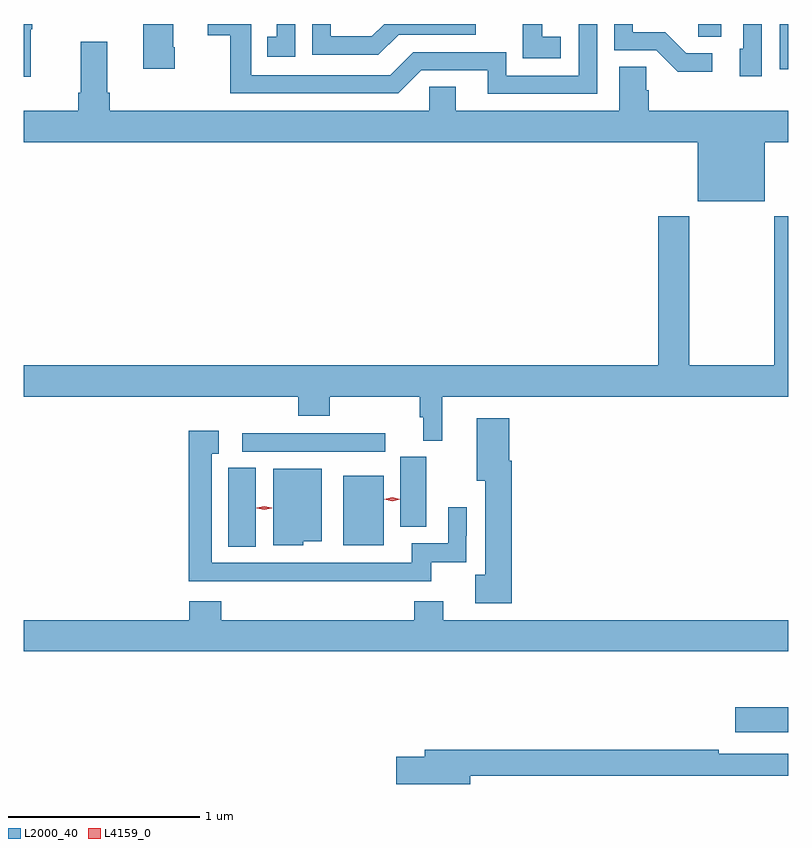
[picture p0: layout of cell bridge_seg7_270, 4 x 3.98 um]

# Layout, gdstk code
import gdstk
lib = gdstk.Library(unit=1e-6, precision=1e-09)
def R(c, l, rs):  # rectangles x0, y0, x1, y1
    for r in rs: c.add(gdstk.rectangle(r[:2], r[2:], *l))
def P(c, l, *ps):  # polygons
    for p in ps: c.add(gdstk.Polygon(p, *l))
L2000_40 = (2000, 40)
L4159_0 = (4159, 0)

bridge_seg7_270 = lib.new_cell('bridge_seg7_270')
R(bridge_seg7_270, L2000_40, [(235.266,1032.161,235.542,1032.291), (232.613,1033.132,232.756,1033.544), (233.213,1033.139,233.425,1033.504), (233.513,1033.235,233.647,1033.602), (232.686,1033.629,233.434,1033.725), (235.497,1035.63,235.542,1035.867), (235.071,1035.799,235.192,1035.867)])
P(bridge_seg7_270, L2000_40, [(234.352,1035.799),(234.254,1035.799),(234.254,1035.867),(234.154,1035.867),(234.154,1035.689),(234.352,1035.689)],
  [(235.144,1035.714),(235.009,1035.714),(234.898,1035.825),(234.729,1035.825),(234.729,1035.867),(234.633,1035.867),(234.633,1035.729),(234.852,1035.729),(234.965,1035.617),(235.144,1035.617)],
  [(233.503,1035.81),(233.907,1035.81),(233.907,1035.867),(233.427,1035.867),(233.362,1035.802),(233.148,1035.802),(233.148,1035.867),(233.052,1035.867),(233.052,1035.705),(233.398,1035.705)],
  [(232.332,1035.745),(232.324,1035.745),(232.324,1035.867),(232.166,1035.867),(232.166,1035.632),(232.332,1035.632)],
  [(231.578,1035.84),(231.586,1035.84),(231.586,1035.867),(231.542,1035.867),(231.542,1035.591),(231.578,1035.591)],
  [(232.962,1035.867),(232.865,1035.867),(232.865,1035.801),(232.816,1035.801),(232.816,1035.696),(232.962,1035.696)],
  [(234.543,1035.867),(234.447,1035.867),(234.447,1035.597),(234.066,1035.597),(234.066,1035.72),(233.58,1035.72),(233.46,1035.6),(232.731,1035.6),(232.731,1035.867),(232.505,1035.867),(232.505,1035.807),(232.623,1035.807),(232.623,1035.504),(233.502,1035.504),(233.622,1035.624),(233.969,1035.624),(233.969,1035.501),(234.543,1035.501)],
  [(235.404,1035.867),(235.308,1035.867),(235.308,1035.738),(235.289,1035.738),(235.289,1035.594),(235.404,1035.594)],
  [(235.42,1035.248),(235.542,1035.248),(235.542,1035.412),(234.812,1035.412),(234.812,1035.521),(234.798,1035.521),(234.798,1035.644),(234.659,1035.644),(234.659,1035.412),(233.803,1035.412),(233.803,1035.539),(233.664,1035.539),(233.664,1035.412),(231.992,1035.412),(231.992,1035.508),(231.979,1035.508),(231.979,1035.775),(231.839,1035.775),(231.839,1035.508),(231.827,1035.508),(231.827,1035.412),(231.542,1035.412),(231.542,1035.248),(235.07,1035.248),(235.07,1034.939),(235.42,1034.939)],
  [(233.732,1033.916),(235.542,1033.916),(235.542,1034.86),(235.468,1034.86),(235.468,1034.08),(235.023,1034.08),(235.023,1034.86),(234.863,1034.86),(234.863,1034.08),(231.542,1034.08),(231.542,1033.916),(232.979,1033.916),(232.979,1033.817),(233.144,1033.817),(233.144,1033.916),(233.614,1033.916),(233.614,1033.808),(233.633,1033.808),(233.633,1033.687),(233.732,1033.687)],
  [(234.095,1033.582),(234.082,1033.582),(234.082,1033.804),(233.912,1033.804),(233.912,1033.478),(233.957,1033.478),(233.957,1032.984),(233.904,1032.984),(233.904,1032.836),(234.095,1032.836)],
  [(233.673,1033.05),(233.856,1033.05),(233.856,1033.188),(233.859,1033.188),(233.859,1033.339),(233.763,1033.339),(233.763,1033.15),(233.573,1033.15),(233.573,1033.047),(232.525,1033.047),(232.525,1033.617),(232.561,1033.617),(232.561,1033.738),(232.404,1033.738),(232.404,1032.951),(232.657,1032.951),(232.657,1032.95),(233.673,1032.95)],
  [(233.004,1033.16),(233.101,1033.16),(233.101,1033.54),(232.847,1033.54),(232.847,1033.139),(233.004,1033.139)],
  [(232.409,1032.847),(232.409,1032.748),(231.542,1032.748),(231.542,1032.584),(235.542,1032.584),(235.542,1032.748),(233.737,1032.748),(233.737,1032.847),(233.585,1032.847),(233.585,1032.748),(232.574,1032.748),(232.574,1032.847)],
  [(233.878,1031.932),(235.542,1031.932),(235.542,1032.048),(235.178,1032.048),(235.178,1032.068),(233.639,1032.068),(233.639,1032.032),(233.49,1032.032),(233.49,1031.89),(233.878,1031.89)])
P(bridge_seg7_270, L4159_0, [(233.47,1033.37),(233.429,1033.379),(233.429,1033.379),(233.429,1033.38),(233.47,1033.39),(233.511,1033.381),(233.511,1033.381),(233.511,1033.381)],
  [(232.8,1033.324),(232.76,1033.334),(232.76,1033.334),(232.76,1033.335),(232.8,1033.344),(232.84,1033.335),(232.84,1033.334),(232.84,1033.334)])

lib.write_gds('bridge_seg7_270.gds')
